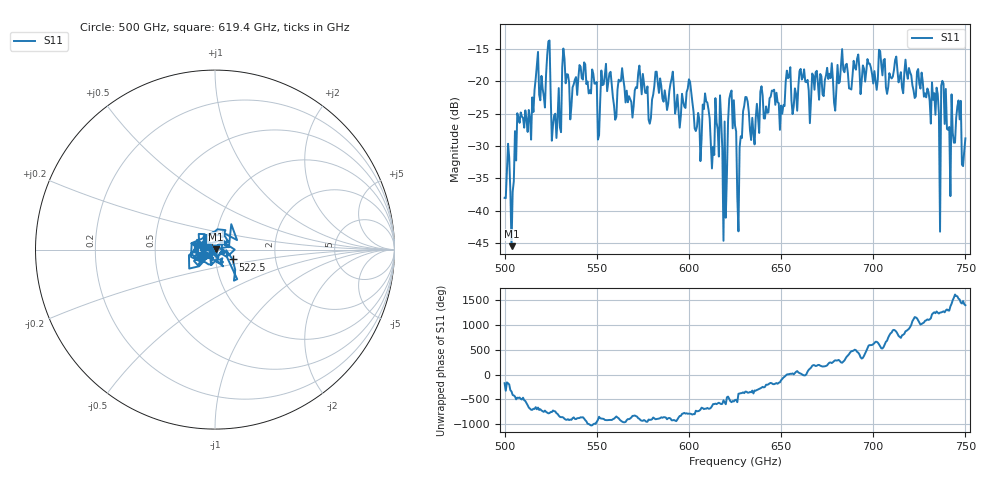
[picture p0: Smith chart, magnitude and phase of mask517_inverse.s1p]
!Created with skrf (http://scikit-rf.org).
# GHz S MA R 50.0
!freq magS11 angS11
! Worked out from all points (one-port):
!   401 points, 500 GHz to 750 GHz, reference 50 ohm
!   lowest |S11| = -45.4 dB at 503.8 GHz (marker M1), VSWR 1.01, Z = 50.5 + j0.19 ohm
!   |S11| at or under -10 dB: start of sweep to end of sweep
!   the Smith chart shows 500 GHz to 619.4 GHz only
!   S11 on the Smith chart (normalised r, x): 500 GHz: 0.98, -0.00; 522.5 GHz: 1.21, -0.13; 619.4 GHz: 0.91, +0.02
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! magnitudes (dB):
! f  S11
! 500 GHz  -38.0
! 503.8 GHz  -45.4
! 508.1 GHz  -26.4
! 522.5 GHz  -19.0
! 523.8 GHz  -13.9
! 526.9 GHz  -25.3
! 531.2 GHz  -17.8
! 562.5 GHz  -20.0
! 593.8 GHz  -22.1
! 600 GHz  -19.7
! 605.6 GHz  -25.9
! 609.4 GHz  -23.1
! 612.5 GHz  -33.5
! 616.2 GHz  -31.6
! 619.4 GHz  -26.2
! 622.5 GHz  -21.9
! 625 GHz  -26.8
! 627.5 GHz  -30.2
! 630.6 GHz  -22.4
! 634.4 GHz  -25.7
! 656.2 GHz  -25.1
! 687.5 GHz  -21.2
! 718.8 GHz  -19.6
! 735 GHz  -22.0
! 738.1 GHz  -20.4
! 743.1 GHz  -27.9
! 746.2 GHz  -23.0
! 750 GHz  -28.8
